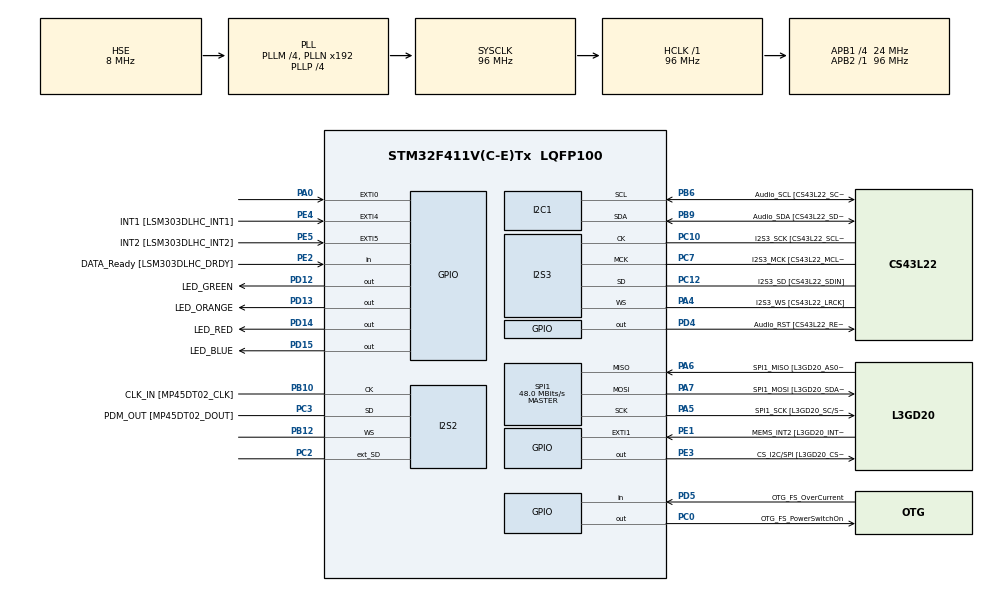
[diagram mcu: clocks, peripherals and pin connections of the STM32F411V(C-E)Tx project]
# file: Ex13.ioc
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FREERTOS.BinarySemaphores01=CriticalResourceSemaphore,Dynamic,NULL
FREERTOS.INCLUDE_vTaskDelayUntil=1
FREERTOS.Mutexes01=CriticalResourceMutex,Dynamic,NULL
FREERTOS.Tasks01=FlashGreenLed,0,128,StartFlashGreenLedTask,Default,NULL,Dynamic,NULL,NULL;FlashRedLed,0,128,StartFlashRedLedTask,Default,NULL,Dynamic,NULL,NULL;FlashBlueLed,0,128,StartFlashBlueLedTask,Default,NULL,Dynamic,NULL,NULL
FREERTOS.configUSE_NEWLIB_REENTRANT=1
I2S2.AudioFreq=I2S_AUDIOFREQ_96K
I2S2.ErrorAudioFreq=0.15 %
I2S2.FullDuplexMode=I2S_FULLDUPLEXMODE_ENABLE
I2S2.Instance=SPI$Index
I2S2.RealAudioFreq=96.153 KHz
I2S2.VirtualMode=I2S_MODE_MASTER
I2S3.AudioFreq=I2S_AUDIOFREQ_96K
I2S3.ErrorAudioFreq=-6.99 %
I2S3.FullDuplexMode=I2S_FULLDUPLEXMODE_DISABLE
I2S3.Instance=SPI$Index
I2S3.RealAudioFreq=89.285 KHz
I2S3.VirtualMode=I2S_MODE_MASTER
Mcu.Family=STM32F4
Mcu.Name=STM32F411V(C-E)Tx
Mcu.Package=LQFP100
NVIC.PriorityGroup=NVIC_PRIORITYGROUP_4
NVIC.TIM1_UP_TIM10_IRQn=true\:15\:0\:false\:false\:true\:false\:false\:true\:true
NVIC.TimeBase=TIM1_UP_TIM10_IRQn
NVIC.TimeBaseIP=TIM1
PA0-WKUP.GPIO_ModeDefaultEXTI=GPIO_MODE_EVT_RISING
PA0-WKUP.Signal=GPXTI0
PA10.GPIO_Label=OTG_FS_ID
PA10.Signal=USB_OTG_FS_ID
PA11.GPIO_Label=OTG_FS_DM
PA11.Signal=USB_OTG_FS_DM
PA12.GPIO_Label=OTG_FS_DP
PA12.Signal=USB_OTG_FS_DP
PA13.GPIO_Label=SWDIO
PA13.Mode=Serial_Wire
PA13.Signal=SYS_JTMS-SWDIO
PA14.GPIO_Label=SWCLK
PA14.Mode=Serial_Wire
PA14.Signal=SYS_JTCK-SWCLK
PA4.GPIO_Label=I2S3_WS [CS43L22_LRCK]
PA4.GPIO_Mode=GPIO_MODE_AF_PP
PA4.GPIO_PuPd=GPIO_NOPULL
PA4.GPIO_Speed=GPIO_SPEED_FREQ_LOW
PA4.Mode=Half_Duplex_Master
PA4.Signal=I2S3_WS
PA5.GPIO_Label=SPI1_SCK [L3GD20_SC/SPC]
PA5.Mode=Full_Duplex_Master
PA5.Signal=SPI1_SCK
PA6.GPIO_Label=SPI1_MISO [L3GD20_AS0/SDO]
PA6.Mode=Full_Duplex_Master
PA6.Signal=SPI1_MISO
PA7.GPIO_Label=SPI1_MOSI [L3GD20_SDA/SDI/SDO]
PA7.Mode=Full_Duplex_Master
PA7.Signal=SPI1_MOSI
PA9.GPIO_Label=VBUS_FS
PA9.Signal=USB_OTG_FS_VBUS
PB10.GPIO_Label=CLK_IN [MP45DT02_CLK]
PB10.Mode=Full_Duplex_Master
PB10.Signal=I2S2_CK
PB12.Mode=Full_Duplex_Master
PB12.Signal=I2S2_WS
PB3.GPIO_Label=SWO
PB3.Signal=SYS_JTDO-SWO
PB6.GPIO_Label=Audio_SCL [CS43L22_SCL]
PB6.GPIO_Mode=GPIO_MODE_AF_OD
PB6.GPIO_Pu=GPIO_PULLUP
PB6.GPIO_PuPd=GPIO_NOPULL
PB6.GPIO_Speed=GPIO_SPEED_FREQ_LOW
PB6.Mode=I2C
PB6.Signal=I2C1_SCL
PB9.GPIO_Label=Audio_SDA [CS43L22_SDA]
PB9.GPIO_Mode=GPIO_MODE_AF_OD
PB9.GPIO_Pu=GPIO_PULLUP
PB9.GPIO_PuPd=GPIO_NOPULL
PB9.GPIO_Speed=GPIO_SPEED_FREQ_LOW
PB9.Mode=I2C
PB9.Signal=I2C1_SDA
PC0.GPIO_Label=OTG_FS_PowerSwitchOn
PC0.PinState=GPIO_PIN_SET
PC0.Signal=GPIO_Output
PC10.GPIO_Label=I2S3_SCK [CS43L22_SCLK]
PC10.GPIO_Mode=GPIO_MODE_AF_PP
PC10.GPIO_PuPd=GPIO_NOPULL
PC10.GPIO_Speed=GPIO_SPEED_FREQ_LOW
PC10.Mode=Half_Duplex_Master
PC10.Signal=I2S3_CK
PC12.GPIO_Label=I2S3_SD [CS43L22_SDIN]
PC12.GPIO_Mode=GPIO_MODE_AF_PP
PC12.GPIO_PuPd=GPIO_NOPULL
PC12.GPIO_Speed=GPIO_SPEED_FREQ_LOW
PC12.Mode=Half_Duplex_Master
PC12.Signal=I2S3_SD
PC14-OSC32_IN.GPIO_Label=PC14-OSC32_IN
PC14-OSC32_IN.Mode=LSE-External-Oscillator
PC14-OSC32_IN.Signal=RCC_OSC32_IN
PC15-OSC32_OUT.GPIO_Label=PC15-OSC32_OUT
PC15-OSC32_OUT.Mode=LSE-External-Oscillator
PC15-OSC32_OUT.Signal=RCC_OSC32_OUT
PC2.Mode=Full_Duplex_Master
PC2.Signal=I2S2_ext_SD
PC3.GPIO_Label=PDM_OUT [MP45DT02_DOUT]
PC3.Mode=Full_Duplex_Master
PC3.Signal=I2S2_SD
PC7.GPIO_Label=I2S3_MCK [CS43L22_MCLK]
PC7.GPIO_Mode=GPIO_MODE_AF_PP
PC7.GPIO_PuPd=GPIO_NOPULL
PC7.GPIO_Speed=GPIO_SPEED_FREQ_LOW
PC7.Mode=Master_Clock_Activated
PC7.Signal=I2S3_MCK
PD12.GPIO_Label=LED_GREEN
PD12.GPIO_PuPd=GPIO_NOPULL
PD12.GPIO_Speed=GPIO_SPEED_FREQ_LOW
PD12.Signal=GPIO_Output
PD13.GPIO_Label=LED_ORANGE
PD13.GPIO_PuPd=GPIO_NOPULL
PD13.GPIO_Speed=GPIO_SPEED_FREQ_LOW
PD13.Signal=GPIO_Output
PD14.GPIO_Label=LED_RED
PD14.GPIO_PuPd=GPIO_NOPULL
PD14.GPIO_Speed=GPIO_SPEED_FREQ_LOW
PD14.Signal=GPIO_Output
PD15.GPIO_Label=LED_BLUE
PD15.GPIO_PuPd=GPIO_NOPULL
PD15.GPIO_Speed=GPIO_SPEED_FREQ_LOW
PD15.Signal=GPIO_Output
PD4.GPIO_Label=Audio_RST [CS43L22_RESET]
PD4.Signal=GPIO_Output
PD5.GPIO_Label=OTG_FS_OverCurrent
PD5.Signal=GPIO_Input
PE1.GPIO_Label=MEMS_INT2 [L3GD20_INT2]
PE1.GPIO_ModeDefaultEXTI=GPIO_MODE_EVT_RISING
PE1.Signal=GPXTI1
PE2.GPIO_Label=DATA_Ready [LSM303DLHC_DRDY]
PE2.Signal=GPIO_Input
PE3.GPIO_Label=CS_I2C/SPI [L3GD20_CS_I2C/SPI]
PE3.Signal=GPIO_Output
PE4.GPIO_Label=INT1 [LSM303DLHC_INT1]
PE4.GPIO_ModeDefaultEXTI=GPIO_MODE_EVT_RISING
PE4.Signal=GPXTI4
PE5.GPIO_Label=INT2 [LSM303DLHC_INT2]
PE5.GPIO_ModeDefaultEXTI=GPIO_MODE_EVT_RISING
PE5.Signal=GPXTI5
PH0\ -\ OSC_IN.GPIO_Label=PH0-OSC_IN
PH0\ -\ OSC_IN.Mode=HSE-External-Oscillator
PH0\ -\ OSC_IN.Signal=RCC_OSC_IN
PH1\ -\ OSC_OUT.GPIO_Label=PH1-OSC_OUT
PH1\ -\ OSC_OUT.Mode=HSE-External-Oscillator
PH1\ -\ OSC_OUT.Signal=RCC_OSC_OUT
ProjectManager.HeapSize=0x200
ProjectManager.StackSize=0x400
ProjectManager.TargetToolchain=STM32CubeIDE
RCC.48MHZClocksFreq_Value=48000000
RCC.AHBFreq_Value=96000000
RCC.APB1CLKDivider=RCC_HCLK_DIV4
RCC.APB1Freq_Value=24000000
RCC.APB1TimFreq_Value=48000000
RCC.APB2Freq_Value=96000000
RCC.APB2TimFreq_Value=96000000
RCC.CortexFreq_Value=96000000
RCC.HCLKFreq_Value=96000000
RCC.HSE_VALUE=8000000
RCC.HSI_VALUE=16000000
RCC.PLLI2SM=5
RCC.PLLI2SN=200
RCC.PLLM=4
RCC.PLLP=RCC_PLLP_DIV4
RCC.PLLQ=8
RCC.PLLSourceVirtual=RCC_PLLSOURCE_HSE
RCC.SYSCLKFreq_VALUE=96000000
RCC.SYSCLKSource=RCC_SYSCLKSOURCE_PLLCLK
RCC.VCOOutputFreq_Value=384000000
SPI1.BaudRatePrescaler=SPI_BAUDRATEPRESCALER_2
SPI1.CalculateBaudRate=48.0 MBits/s
SPI1.Direction=SPI_DIRECTION_2LINES
SPI1.Mode=SPI_MODE_MASTER
SPI1.VirtualType=VM_MASTER
VP_FREERTOS_VS_CMSIS_V1.Mode=CMSIS_V1
VP_SYS_VS_tim1.Mode=TIM1
board=STM32F411E-DISCO

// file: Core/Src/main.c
/* USER CODE BEGIN Header */
/**
  ******************************************************************************
  * @file           : main.c
  * @brief          : Main program body
  ******************************************************************************
  * @attention
  *
  * Copyright (c) 2024 STMicroelectronics.
  * All rights reserved.
  *
  * This software is licensed under terms that can be found in the LICENSE file
  * in the root directory of this software component.
  * If no LICENSE file comes with this software, it is provided AS-IS.
  *
  ******************************************************************************
  */
/* USER CODE END Header */
#include "main.h"
#include "cmsis_os.h"

/* USER CODE BEGIN Includes */
#include "my_flags.h"
/* USER CODE END Includes */

I2C_HandleTypeDef hi2c1;

I2S_HandleTypeDef hi2s2;
I2S_HandleTypeDef hi2s3;

SPI_HandleTypeDef hspi1;

osThreadId FlashGreenLedHandle;
osThreadId FlashRedLedHandle;
osThreadId FlashBlueLedHandle;
osMutexId CriticalResourceMutexHandle;
osSemaphoreId CriticalResourceSemaphoreHandle;

void SystemClock_Config(void);
void PeriphCommonClock_Config(void);
static void MX_GPIO_Init(void);
static void MX_I2C1_Init(void);
static void MX_I2S2_Init(void);
static void MX_I2S3_Init(void);
static void MX_SPI1_Init(void);
void StartFlashGreenLedTask(void const * argument);
void StartFlashRedLedTask(void const * argument);
void StartFlashBlueLedTask(void const * argument);

int main(void)
{

  /* MCU Configuration--------------------------------------------------------*/

  /* Reset of all peripherals, Initializes the Flash interface and the Systick. */
  HAL_Init();

  /* Configure the system clock */
  SystemClock_Config();

/* Configure the peripherals common clocks */
  PeriphCommonClock_Config();

  /* Initialize all configured peripherals */
  MX_GPIO_Init();
  MX_I2C1_Init();
  MX_I2S2_Init();
  MX_I2S3_Init();
  MX_SPI1_Init();

  /* Create the mutex(es) */
  /* definition and creation of CriticalResourceMutex */
  osMutexDef(CriticalResourceMutex);
  CriticalResourceMutexHandle = osMutexCreate(osMutex(CriticalResourceMutex));

  /* Create the semaphores(s) */
  /* definition and creation of CriticalResourceSemaphore */
  osSemaphoreDef(CriticalResourceSemaphore);
  CriticalResourceSemaphoreHandle = osSemaphoreCreate(osSemaphore(CriticalResourceSemaphore), 1);

  /* Create the thread(s) */
  /* definition and creation of FlashGreenLed */
  osThreadDef(FlashGreenLed, StartFlashGreenLedTask, osPriorityNormal, 0, 128);
  FlashGreenLedHandle = osThreadCreate(osThread(FlashGreenLed), NULL);

  /* definition and creation of FlashRedLed */
  osThreadDef(FlashRedLed, StartFlashRedLedTask, osPriorityNormal, 0, 128);
  FlashRedLedHandle = osThreadCreate(osThread(FlashRedLed), NULL);

  /* definition and creation of FlashBlueLed */
  osThreadDef(FlashBlueLed, StartFlashBlueLedTask, osPriorityNormal, 0, 128);
  FlashBlueLedHandle = osThreadCreate(osThread(FlashBlueLed), NULL);

  /* Start scheduler */
  osKernelStart();

  /* We should never get here as control is now taken by the scheduler */
  /* Infinite loop */
  while (1)
  {

  }
}

void SystemClock_Config(void)
{
  RCC_OscInitTypeDef RCC_OscInitStruct = {0};
  RCC_ClkInitTypeDef RCC_ClkInitStruct = {0};

  /** Configure the main internal regulator output voltage
  */
  __HAL_RCC_PWR_CLK_ENABLE();
  __HAL_PWR_VOLTAGESCALING_CONFIG(PWR_REGULATOR_VOLTAGE_SCALE1);

  /** Initializes the RCC Oscillators according to the specified parameters
  * in the RCC_OscInitTypeDef structure.
  */
  RCC_OscInitStruct.OscillatorType = RCC_OSCILLATORTYPE_HSE;
  RCC_OscInitStruct.HSEState = RCC_HSE_ON;
  RCC_OscInitStruct.PLL.PLLState = RCC_PLL_ON;
  RCC_OscInitStruct.PLL.PLLSource = RCC_PLLSOURCE_HSE;
  RCC_OscInitStruct.PLL.PLLM = 4;
  RCC_OscInitStruct.PLL.PLLN = 192;
  RCC_OscInitStruct.PLL.PLLP = RCC_PLLP_DIV4;
  RCC_OscInitStruct.PLL.PLLQ = 8;
  if (HAL_RCC_OscConfig(&RCC_OscInitStruct) != HAL_OK)
  {
    Error_Handler();
  }

  /** Initializes the CPU, AHB and APB buses clocks
  */
  RCC_ClkInitStruct.ClockType = RCC_CLOCKTYPE_HCLK|RCC_CLOCKTYPE_SYSCLK
                              |RCC_CLOCKTYPE_PCLK1|RCC_CLOCKTYPE_PCLK2;
  RCC_ClkInitStruct.SYSCLKSource = RCC_SYSCLKSOURCE_PLLCLK;
  RCC_ClkInitStruct.AHBCLKDivider = RCC_SYSCLK_DIV1;
  RCC_ClkInitStruct.APB1CLKDivider = RCC_HCLK_DIV4;
  RCC_ClkInitStruct.APB2CLKDivider = RCC_HCLK_DIV1;

  if (HAL_RCC_ClockConfig(&RCC_ClkInitStruct, FLASH_LATENCY_3) != HAL_OK)
  {
    Error_Handler();
  }
}

void PeriphCommonClock_Config(void)
{
  RCC_PeriphCLKInitTypeDef PeriphClkInitStruct = {0};

  /** Initializes the peripherals clock
  */
  PeriphClkInitStruct.PeriphClockSelection = RCC_PERIPHCLK_I2S;
  PeriphClkInitStruct.PLLI2S.PLLI2SN = 200;
  PeriphClkInitStruct.PLLI2S.PLLI2SM = 5;
  PeriphClkInitStruct.PLLI2S.PLLI2SR = 2;
  if (HAL_RCCEx_PeriphCLKConfig(&PeriphClkInitStruct) != HAL_OK)
  {
    Error_Handler();
  }
}

static void MX_I2C1_Init(void)
{

  hi2c1.Instance = I2C1;
  hi2c1.Init.ClockSpeed = 100000;
  hi2c1.Init.DutyCycle = I2C_DUTYCYCLE_2;
  hi2c1.Init.OwnAddress1 = 0;
  hi2c1.Init.AddressingMode = I2C_ADDRESSINGMODE_7BIT;
  hi2c1.Init.DualAddressMode = I2C_DUALADDRESS_DISABLE;
  hi2c1.Init.OwnAddress2 = 0;
  hi2c1.Init.GeneralCallMode = I2C_GENERALCALL_DISABLE;
  hi2c1.Init.NoStretchMode = I2C_NOSTRETCH_DISABLE;
  if (HAL_I2C_Init(&hi2c1) != HAL_OK)
  {
    Error_Handler();
  }

}

static void MX_I2S2_Init(void)
{

  hi2s2.Instance = SPI2;
  hi2s2.Init.Mode = I2S_MODE_MASTER_TX;
  hi2s2.Init.Standard = I2S_STANDARD_PHILIPS;
  hi2s2.Init.DataFormat = I2S_DATAFORMAT_16B;
  hi2s2.Init.MCLKOutput = I2S_MCLKOUTPUT_DISABLE;
  hi2s2.Init.AudioFreq = I2S_AUDIOFREQ_96K;
  hi2s2.Init.CPOL = I2S_CPOL_LOW;
  hi2s2.Init.ClockSource = I2S_CLOCK_PLL;
  hi2s2.Init.FullDuplexMode = I2S_FULLDUPLEXMODE_ENABLE;
  if (HAL_I2S_Init(&hi2s2) != HAL_OK)
  {
    Error_Handler();
  }

}

static void MX_I2S3_Init(void)
{

  hi2s3.Instance = SPI3;
  hi2s3.Init.Mode = I2S_MODE_MASTER_TX;
  hi2s3.Init.Standard = I2S_STANDARD_PHILIPS;
  hi2s3.Init.DataFormat = I2S_DATAFORMAT_16B;
  hi2s3.Init.MCLKOutput = I2S_MCLKOUTPUT_ENABLE;
  hi2s3.Init.AudioFreq = I2S_AUDIOFREQ_96K;
  hi2s3.Init.CPOL = I2S_CPOL_LOW;
  hi2s3.Init.ClockSource = I2S_CLOCK_PLL;
  hi2s3.Init.FullDuplexMode = I2S_FULLDUPLEXMODE_DISABLE;
  if (HAL_I2S_Init(&hi2s3) != HAL_OK)
  {
    Error_Handler();
  }

}

static void MX_SPI1_Init(void)
{

  /* SPI1 parameter configuration*/
  hspi1.Instance = SPI1;
  hspi1.Init.Mode = SPI_MODE_MASTER;
  hspi1.Init.Direction = SPI_DIRECTION_2LINES;
  hspi1.Init.DataSize = SPI_DATASIZE_8BIT;
  hspi1.Init.CLKPolarity = SPI_POLARITY_LOW;
  hspi1.Init.CLKPhase = SPI_PHASE_1EDGE;
  hspi1.Init.NSS = SPI_NSS_SOFT;
  hspi1.Init.BaudRatePrescaler = SPI_BAUDRATEPRESCALER_2;
  hspi1.Init.FirstBit = SPI_FIRSTBIT_MSB;
  hspi1.Init.TIMode = SPI_TIMODE_DISABLE;
  hspi1.Init.CRCCalculation = SPI_CRCCALCULATION_DISABLE;
  hspi1.Init.CRCPolynomial = 10;
  if (HAL_SPI_Init(&hspi1) != HAL_OK)
  {
    Error_Handler();
  }

}

static void MX_GPIO_Init(void)
{
  GPIO_InitTypeDef GPIO_InitStruct = {0};

  /* GPIO Ports Clock Enable */
  __HAL_RCC_GPIOE_CLK_ENABLE();
  __HAL_RCC_GPIOC_CLK_ENABLE();
  __HAL_RCC_GPIOH_CLK_ENABLE();
  __HAL_RCC_GPIOA_CLK_ENABLE();
  __HAL_RCC_GPIOB_CLK_ENABLE();
  __HAL_RCC_GPIOD_CLK_ENABLE();

  /*Configure GPIO pin Output Level */
  HAL_GPIO_WritePin(CS_I2C_SPI_GPIO_Port, CS_I2C_SPI_Pin, GPIO_PIN_RESET);

  /*Configure GPIO pin Output Level */
  HAL_GPIO_WritePin(OTG_FS_PowerSwitchOn_GPIO_Port, OTG_FS_PowerSwitchOn_Pin, GPIO_PIN_SET);

  /*Configure GPIO pin Output Level */
  HAL_GPIO_WritePin(GPIOD, LED_GREEN_Pin|LED_ORANGE_Pin|LED_RED_Pin|LED_BLUE_Pin
                          |Audio_RST_Pin, GPIO_PIN_RESET);

  /*Configure GPIO pin : DATA_Ready_Pin */
  GPIO_InitStruct.Pin = DATA_Ready_Pin;
  GPIO_InitStruct.Mode = GPIO_MODE_INPUT;
  GPIO_InitStruct.Pull = GPIO_NOPULL;
  HAL_GPIO_Init(DATA_Ready_GPIO_Port, &GPIO_InitStruct);

  /*Configure GPIO pin : CS_I2C_SPI_Pin */
  GPIO_InitStruct.Pin = CS_I2C_SPI_Pin;
  GPIO_InitStruct.Mode = GPIO_MODE_OUTPUT_PP;
  GPIO_InitStruct.Pull = GPIO_NOPULL;
  GPIO_InitStruct.Speed = GPIO_SPEED_FREQ_LOW;
  HAL_GPIO_Init(CS_I2C_SPI_GPIO_Port, &GPIO_InitStruct);

  /*Configure GPIO pins : INT1_Pin INT2_Pin MEMS_INT2_Pin */
  GPIO_InitStruct.Pin = INT1_Pin|INT2_Pin|MEMS_INT2_Pin;
  GPIO_InitStruct.Mode = GPIO_MODE_EVT_RISING;
  GPIO_InitStruct.Pull = GPIO_NOPULL;
  HAL_GPIO_Init(GPIOE, &GPIO_InitStruct);

  /*Configure GPIO pin : OTG_FS_PowerSwitchOn_Pin */
  GPIO_InitStruct.Pin = OTG_FS_PowerSwitchOn_Pin;
  GPIO_InitStruct.Mode = GPIO_MODE_OUTPUT_PP;
  GPIO_InitStruct.Pull = GPIO_NOPULL;
  GPIO_InitStruct.Speed = GPIO_SPEED_FREQ_LOW;
  HAL_GPIO_Init(OTG_FS_PowerSwitchOn_GPIO_Port, &GPIO_InitStruct);

  /*Configure GPIO pin : PA0 */
  GPIO_InitStruct.Pin = GPIO_PIN_0;
  GPIO_InitStruct.Mode = GPIO_MODE_EVT_RISING;
  GPIO_InitStruct.Pull = GPIO_NOPULL;
  HAL_GPIO_Init(GPIOA, &GPIO_InitStruct);

  /*Configure GPIO pins : LED_GREEN_Pin LED_ORANGE_Pin LED_RED_Pin LED_BLUE_Pin
                           Audio_RST_Pin */
  GPIO_InitStruct.Pin = LED_GREEN_Pin|LED_ORANGE_Pin|LED_RED_Pin|LED_BLUE_Pin
                          |Audio_RST_Pin;
  GPIO_InitStruct.Mode = GPIO_MODE_OUTPUT_PP;
  GPIO_InitStruct.Pull = GPIO_NOPULL;
  GPIO_InitStruct.Speed = GPIO_SPEED_FREQ_LOW;
  HAL_GPIO_Init(GPIOD, &GPIO_InitStruct);

  /*Configure GPIO pin : VBUS_FS_Pin */
  GPIO_InitStruct.Pin = VBUS_FS_Pin;
  GPIO_InitStruct.Mode = GPIO_MODE_INPUT;
  GPIO_InitStruct.Pull = GPIO_NOPULL;
  HAL_GPIO_Init(VBUS_FS_GPIO_Port, &GPIO_InitStruct);

  /*Configure GPIO pins : OTG_FS_ID_Pin OTG_FS_DM_Pin OTG_FS_DP_Pin */
  GPIO_InitStruct.Pin = OTG_FS_ID_Pin|OTG_FS_DM_Pin|OTG_FS_DP_Pin;
  GPIO_InitStruct.Mode = GPIO_MODE_AF_PP;
  GPIO_InitStruct.Pull = GPIO_NOPULL;
  GPIO_InitStruct.Speed = GPIO_SPEED_FREQ_VERY_HIGH;
  GPIO_InitStruct.Alternate = GPIO_AF10_OTG_FS;
  HAL_GPIO_Init(GPIOA, &GPIO_InitStruct);

  /*Configure GPIO pin : OTG_FS_OverCurrent_Pin */
  GPIO_InitStruct.Pin = OTG_FS_OverCurrent_Pin;
  GPIO_InitStruct.Mode = GPIO_MODE_INPUT;
  GPIO_InitStruct.Pull = GPIO_NOPULL;
  HAL_GPIO_Init(OTG_FS_OverCurrent_GPIO_Port, &GPIO_InitStruct);

}

void StartFlashGreenLedTask(void const * argument)
{
  /* USER CODE BEGIN 5 */
  /* Infinite loop */
  for(;;)
  {
	  for(int i=0;i<=100;++i)//100*100 mSec = 10 seconds
		  {
		  HAL_GPIO_WritePin(GPIOD, LED_GREEN_Pin, GPIO_PIN_SET);//led on
		  osDelay(50);//50mSec delay
		  HAL_GPIO_WritePin(GPIOD, LED_GREEN_Pin, GPIO_PIN_RESET);//led off
		  osDelay(50);//50mSec delay
		  }//nested for

	  Set_Flag(1);

	  for(int i=0;i<=10;++i)
		  {
		  HAL_GPIO_WritePin(GPIOD, LED_GREEN_Pin, GPIO_PIN_SET);//led on
		  osDelay(500);//half a second delay
		  HAL_GPIO_WritePin(GPIOD, LED_GREEN_Pin, GPIO_PIN_RESET);//led off
		  osDelay(500);//half a second delay
		  }//nested for

	  Reset_Flag(1);

	  for(int i=0;i<=100;++i)//100*100 mSec = 10 seconds
		  {
		  HAL_GPIO_WritePin(GPIOD, LED_GREEN_Pin, GPIO_PIN_SET);//led on
		  osDelay(50);//50mSec delay
		  HAL_GPIO_WritePin(GPIOD, LED_GREEN_Pin, GPIO_PIN_RESET);//led off
		  osDelay(50);//50mSec delay
		  }//nested for

	  vTaskSuspend(NULL);
  }
  /* USER CODE END 5 */
}

void StartFlashRedLedTask(void const * argument)
{
  /* USER CODE BEGIN StartFlashRedLedTask */
  /* Infinite loop */
  for(;;)
  {
	  for(int i=0;i<=150;++i)//150*100 mSec = 15 seconds
		  {
		  HAL_GPIO_WritePin(GPIOD, LED_RED_Pin, GPIO_PIN_SET);//led on
		  osDelay(50);//50mSec delay
		  HAL_GPIO_WritePin(GPIOD, LED_RED_Pin, GPIO_PIN_RESET);//led off
		  osDelay(50);//50mSec delay
		  }//nested for

	  Set_Flag(2);

	  for(int i=0;i<=10;++i)//1 Hz
	  {
		  HAL_GPIO_WritePin(GPIOD, LED_RED_Pin, GPIO_PIN_SET);//led on
		  osDelay(500);//half a second delay
		  HAL_GPIO_WritePin(GPIOD, LED_RED_Pin, GPIO_PIN_RESET);//led off
		  osDelay(500);//half a second delay
	  }//nested for

	  Reset_Flag(2);

	  for(int i=0;i<=50;++i)//50*100 mSec = 5 seconds
	  {
		  HAL_GPIO_WritePin(GPIOD, LED_RED_Pin, GPIO_PIN_SET);//led on
		  osDelay(50);//50mSec delay
		  HAL_GPIO_WritePin(GPIOD, LED_RED_Pin, GPIO_PIN_RESET);//led off
		  osDelay(50);//50mSec delay
	  }//nested for

	  vTaskSuspend(NULL);
  }
  /* USER CODE END StartFlashRedLedTask */
}

void StartFlashBlueLedTask(void const * argument)
{
  /* USER CODE BEGIN StartFlashBlueLedTask */
  /* Infinite loop */
  for(;;)
  {
	  if( (Check_Flag(1)==Reset) | (Check_Flag(2)==Reset) ){
		  HAL_GPIO_TogglePin(GPIOD, LED_BLUE_Pin);
		  osDelay(50);//50mSec delay
		  HAL_GPIO_TogglePin(GPIOD, LED_BLUE_Pin);
		  osDelay(50);//50mSec delay
		  }

	  if( (Check_Flag(1)==Set) & (Check_Flag(2)==Set) ){
		  HAL_GPIO_TogglePin(GPIOD, LED_BLUE_Pin);
		  osDelay(500);//50mSec delay
		  HAL_GPIO_TogglePin(GPIOD, LED_BLUE_Pin);
		  osDelay(500);//50mSec delay
		  }
  }
  /* USER CODE END StartFlashBlueLedTask */
}

void HAL_TIM_PeriodElapsedCallback(TIM_HandleTypeDef *htim)
{
  if (htim->Instance == TIM1) {
    HAL_IncTick();
  }
}

void Error_Handler(void)
{
  __disable_irq();
  while (1)
  {
  }
}
